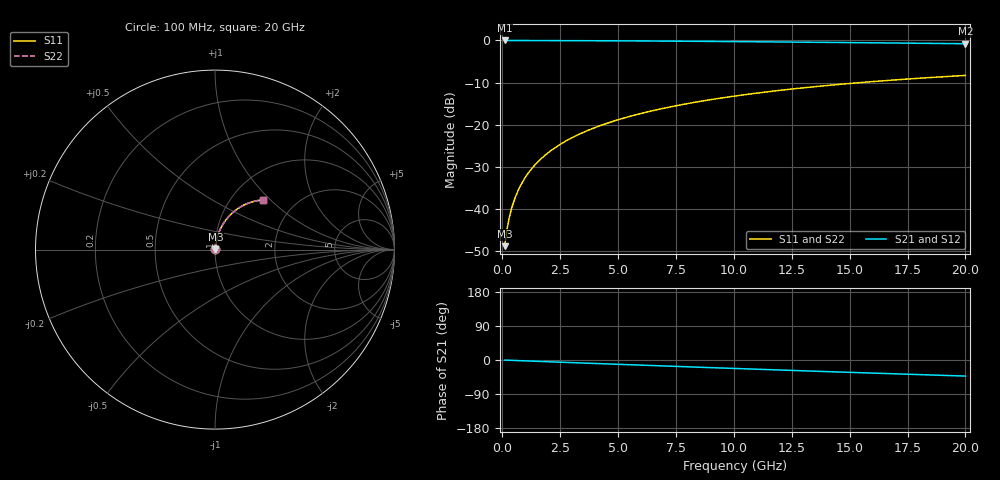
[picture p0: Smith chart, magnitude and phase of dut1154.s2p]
! Touchstone file exported from HFSS 2026.1.0
!  File:  C:/ffzhzh/LocalFiles/Ansys_Project_Files/temp_train_TMRDL_1154_1783162181_55132.aedt
!  Generated:  06:51:02 PM Jul  4, 2026
!  Design:  TMRDL
!  Project:  temp_train_TMRDL_1154_1783162181_55132
! Variables:
!  h_bsmrdl = 2um
!  h_ox = 20um
!  h_rdl = 5um
!  h_sub = 80um
!  h_tmrdl = 4.3um
!  h_tsv = 80um
!  h_via = 3um
!  l_bsmrdl = 300um
!  l_sub = 1023.05um
!  l_tmrdl = 623.05um
!  m_sub = 200um
!  pitch = 48.12um
!  r_tsv = 6um
!  s_tmrdl = 10um
!  w_bsmrdl = 18um
!  w_sub = 500um
!  w_tmrdl = 21.08um
!  x_tsv_center1 = 633.59um
!  x_tsv_center2 = 951.59um
!  x_tsv_center3 = 1595.72um
!  x_tsv_center4 = 1913.72um
!  x_tsv_center5 = 2557.85um
!  x_tsv_center6 = 2875.85um
# GHz S MA R 50.000000
! Terminal data exported
! Port[1] = TM_RDL1_1_T1
! Port[2] = TM_RDL1_1_T2
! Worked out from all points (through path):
!   200 points, 100 MHz to 20 GHz, reference 50 ohm
!   highest |S21| = -0.02 dB at 100 MHz (marker M1); lowest = -0.8 dB at 20 GHz (marker M2)
!   group delay of S21, straight-line fit = 5.89 ps
!   lowest |S11| = -48.8 dB at 100 MHz (marker M3), VSWR 1.01, Z = 50.3 + j0.256 ohm
!   |S11| at or under -10 dB: start of sweep to 15.46 GHz
!   |S22| runs from -48.8 to -8.3 dB; largest |S21 - S12| = 2.1e-15
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0.1  0.00365 44.3  0.9974 -0.2  0.9974 -0.2  0.00365 44.3
! Gamma 0 0 0 0
! Port Impedance 50 0 50 0
0.2  0.005723 60.8  0.9972 -0.5  0.9972 -0.5  0.005723 60.8
0.3  0.007939 68.0  0.9971 -0.7  0.9971 -0.7  0.007939 68.0
0.4  0.01018 72.1  0.997 -0.9  0.997 -0.9  0.01018 72.1
0.5  0.01245 74.6  0.9969 -1.2  0.9969 -1.2  0.01245 74.6
0.6  0.01473 76.4  0.9968 -1.4  0.9968 -1.4  0.01473 76.4
0.8  0.01933 78.6  0.9966 -1.9  0.9966 -1.9  0.01933 78.6
1.1  0.02627 80.2  0.9963 -2.6  0.9963 -2.6  0.02627 80.2
1.5  0.03556 80.9  0.9959 -3.5  0.9959 -3.5  0.03556 80.9
1.8  0.04251 80.9  0.9955 -4.2  0.9955 -4.2  0.04251 80.9
2.1  0.04945 80.8  0.995 -4.8  0.995 -4.8  0.04945 80.8
2.7  0.06324 80.0  0.9939 -6.2  0.9939 -6.2  0.06324 80.0
3.5  0.08141 78.7  0.992 -8.0  0.992 -8.0  0.08141 78.7
4.2  0.09708 77.3  0.9901 -9.6  0.9901 -9.6  0.09708 77.3
5  0.1147 75.7  0.9877 -11.4  0.9877 -11.4  0.1147 75.7
5.9  0.1342 73.9  0.9846 -13.4  0.9846 -13.4  0.1342 73.9
6.8  0.1533 72.1  0.9813 -15.4  0.9813 -15.4  0.1533 72.1
8.3  0.1844 69.0  0.9752 -18.6  0.9752 -18.6  0.1844 69.0
10.1  0.2201 65.3  0.967 -22.5  0.967 -22.5  0.2201 65.3
13.4  0.2812 58.7  0.9501 -29.4  0.9501 -29.4  0.2812 58.7
16.7  0.336 52.2  0.9316 -36.0  0.9316 -36.0  0.336 52.3
20  0.3843 46.0  0.9125 -42.4  0.9125 -42.4  0.3842 46.1
